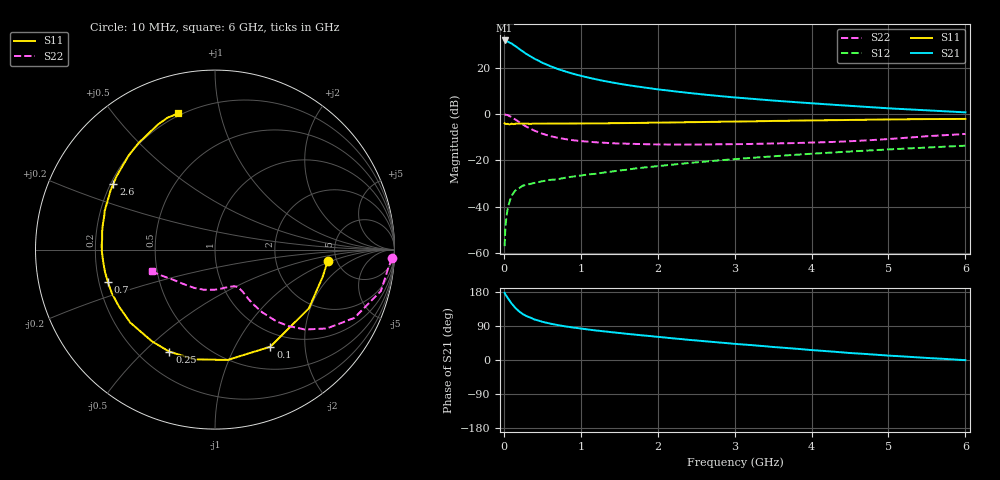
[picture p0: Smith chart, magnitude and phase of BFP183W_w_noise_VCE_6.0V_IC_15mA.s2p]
! Infineon Technologies  Discrete & RF Semiconductors
! BFP183W
! VCE =  6.0 V,  IC =  15 mA
! Common Emitter S-Parameters:  Jan 2017
# GHz  S  MA  R  50
!  f  S11  S21  S12  S22
! GHz  MAG  ANG  MAG  ANG  MAG  ANG  MAG  ANG
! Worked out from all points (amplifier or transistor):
!   77 points, 10 MHz to 6 GHz, reference 50 ohm
!   highest |S21| = 31.8 dB at 10 MHz (marker M1)
!   |S21| within 3 dB of that: start of sweep to 172.8 MHz
!   unconditionally stable (mu >= 1): 1.349 GHz to 3.693 GHz
!   at 130 MHz: K = 0.19, MSG = 31.9 dB, |S12| = -33.9 dB
!   at 2.2 GHz: K = 1.06, MAG = 14.3 dB, |S12| = -21.8 dB
!   at 6 GHz: K = 0.86, MSG = 7.2 dB, |S12| = -13.7 dB
!   lowest NFmin = 1.05 dB at 450 MHz
!   S11 on the Smith chart (normalised r, x): 10 MHz: 4.22, -0.90; 100 MHz: 0.79, -1.40; 250 MHz: 0.32, -0.60; 700 MHz: 0.24, -0.14; 2.6 GHz: 0.21, +0.28; 6 GHz: 0.19, +0.75
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0.01  0.6314 -5.8  39 177.1  0.0014 90.6  0.9882 -2.8
0.02  0.6183 -14.4  38.33 173.1  0.0035 93.4  0.9723 -5.7
0.05  0.6169 -32.0  37.1 163.6  0.0089 77.5  0.9526 -14.0
0.1  0.6228 -60.3  33.57 149.0  0.0171 65.9  0.8649 -26.1
0.15  0.619 -83.5  29.46 137.3  0.0224 57.5  0.7621 -35.2
0.2  0.6218 -100.5  25.56 128.0  0.0251 52.2  0.6706 -41.6
0.25  0.6229 -114.1  22.33 120.7  0.0286 47.6  0.591 -46.1
0.3  0.6201 -124.5  19.59 115.2  0.0298 44.9  0.527 -49.4
0.4  0.6232 -139.2  15.66 106.8  0.0326 43.7  0.4358 -53.1
0.5  0.6219 -149.5  12.88 100.9  0.0354 42.6  0.377 -54.8
0.6  0.6241 -157.0  10.94 96.1  0.0379 42.9  0.3359 -55.9
0.7  0.6235 -163.0  9.452 92.2  0.039 44.7  0.3069 -56.2
0.9  0.6259 -172.4  7.431 85.7  0.0447 46.8  0.2729 -57.0
1.1  0.6307 -179.4  6.137 80.5  0.0498 49.0  0.253 -58.1
1.3  0.6313 174.6  5.205 75.7  0.0545 50.8  0.2406 -59.6
1.5  0.6383 169.6  4.532 71.3  0.0603 52.4  0.2311 -61.9
2.1  0.6561 156.3  3.277 59.2  0.0781 54.5  0.2204 -72.2
2.6  0.6747 147.1  2.647 49.7  0.0936 54.3  0.2203 -83.8
3.1  0.6925 138.7  2.223 41.1  0.1094 53.2  0.225 -96.1
4.1  0.7334 124.3  1.67 24.8  0.1423 49.2  0.2449 -121.3
5.1  0.7693 113.4  1.306 10.5  0.1756 44.1  0.297 -146.9
6  0.7861 105.2  1.09 -0.5  0.2076 38.6  0.3724 -161.1
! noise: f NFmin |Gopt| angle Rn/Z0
0.45  1.05  0.15  158  0.1
0.9  1.09  0.21  163  0.09
1.9  1.56  0.39  -168  0.08
2.4  1.8  0.44  -161  0.11
